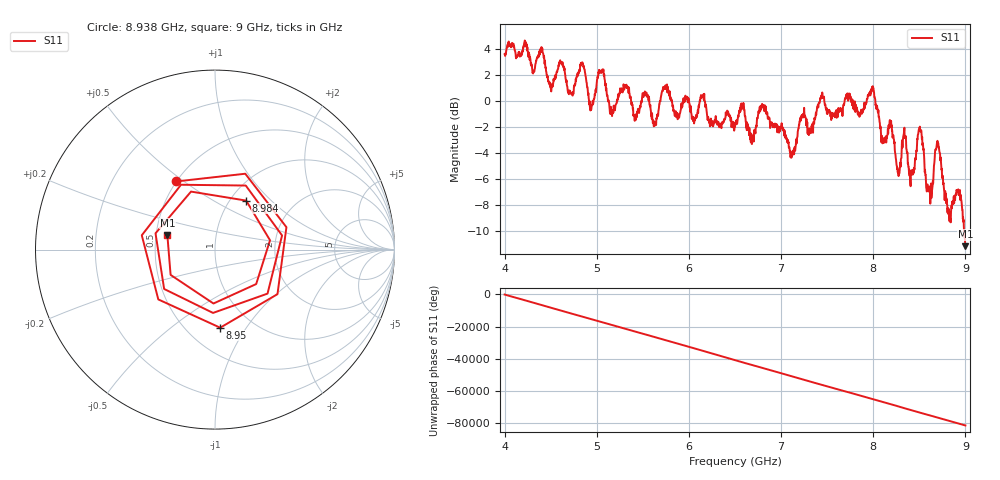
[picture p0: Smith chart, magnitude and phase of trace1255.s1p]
! Created with skrf 1.8.0 (http://scikit-rf.org).
# Hz S RI R 50.0
!freq ReS11 ImS11
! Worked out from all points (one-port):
!   1601 points, 4 GHz to 9 GHz, reference 50 ohm
!   lowest |S11| = -11.1 dB at 9 GHz (marker M1), VSWR 1.77, Z = 28.7 + j5.03 ohm
!   |S11| at or under -10 dB: 8.98631 GHz to end of sweep
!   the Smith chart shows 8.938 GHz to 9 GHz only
!   S11 on the Smith chart (normalised r, x): 8.938 GHz: 0.50, +0.47; 8.95 GHz: 0.72, -0.77; 8.984 GHz: 1.18, +0.72; 9 GHz: 0.57, +0.10
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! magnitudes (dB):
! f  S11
! 4 GHz  3.6
! 4.503 GHz  0.8
! 4.625 GHz  2.8
! 4.722 GHz  0.6
! 4.847 GHz  2.8
! 4.938 GHz  -0.7
! 5.047 GHz  2.1
! 5.156 GHz  -0.9
! 5.25 GHz  0.6
! 5.875 GHz  -0.9
! 6.5 GHz  -2.0
! 6.688 GHz  -2.8
! 6.809 GHz  -0.4
! 7.125 GHz  -4.0
! 7.231 GHz  -1.1
! 7.75 GHz  0.2
! 7.991 GHz  1.0
! 8.262 GHz  -5.1
! 8.375 GHz  -4.8
! 8.425 GHz  -5.3
! 8.506 GHz  -2.0
! 8.6 GHz  -6.6
! 8.697 GHz  -3.1
! 8.816 GHz  -8.7
! 8.938 GHz  -7.2
! 8.95 GHz  -7.2
! 8.984 GHz  -9.8
! 9 GHz  -11.1
